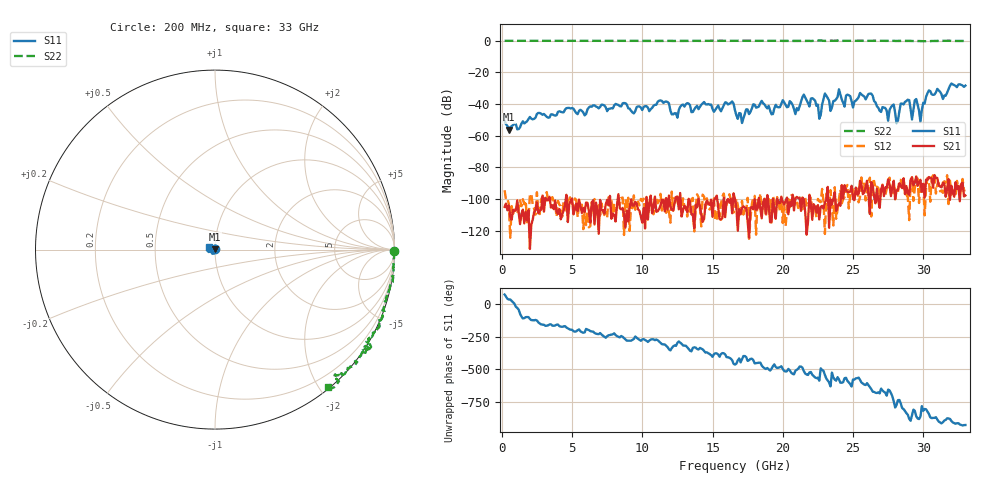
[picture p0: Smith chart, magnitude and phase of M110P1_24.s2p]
# GHZ S RI R 50
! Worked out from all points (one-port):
!   329 points, 200 MHz to 33 GHz, reference 50 ohm
!   lowest |S11| = -56.2 dB at 500 MHz (marker M1), VSWR 1.00, Z = 50.1 + j0.0875 ohm
!   |S11| at or under -10 dB: start of sweep to end of sweep
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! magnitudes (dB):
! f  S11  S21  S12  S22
! 200 MHz  -50.6  -105.0  -94.4  0.0
! 500 MHz  -56.2  -104.1  -103.0  0.0
! 5.7 GHz  -44.3  -108.8  -103.5  0.0
! 11.2 GHz  -37.9  -106.3  -101.1  -0.1
! 12.5 GHz  -48.6  -98.4  -101.7  -0.1
! 16.6 GHz  -44.0  -100.2  -104.9  0.0
! 17.1 GHz  -51.9  -105.8  -101.2  0.0
! 22.1 GHz  -36.3  -113.1  -105.9  -0.1
! 22.6 GHz  -49.2  -112.9  -101.4  0.2
! 23 GHz  -33.3  -102.1  -122.1  -0.1
! 23.4 GHz  -44.4  -100.2  -94.4  0.1
! 24 GHz  -30.7  -102.6  -99.9  -0.1
! 24.4 GHz  -41.6  -91.2  -98.8  0.0
! 26.3 GHz  -33.4  -89.4  -111.0  0.0
! 27.6 GHz  -43.7  -90.6  -86.5  -0.1
! 28.1 GHz  -52.1  -94.5  -96.1  -0.1
! 29 GHz  -37.5  -97.3  -113.3  -0.1
! 29.2 GHz  -49.7  -86.2  -86.7  -0.1
! 29.5 GHz  -36.8  -85.7  -88.7  -0.1
! 29.8 GHz  -51.2  -87.8  -90.2  -0.2
! 30.4 GHz  -31.4  -86.1  -87.0  -0.3
! 33 GHz  -28.3  -97.7  -94.4  -0.1
